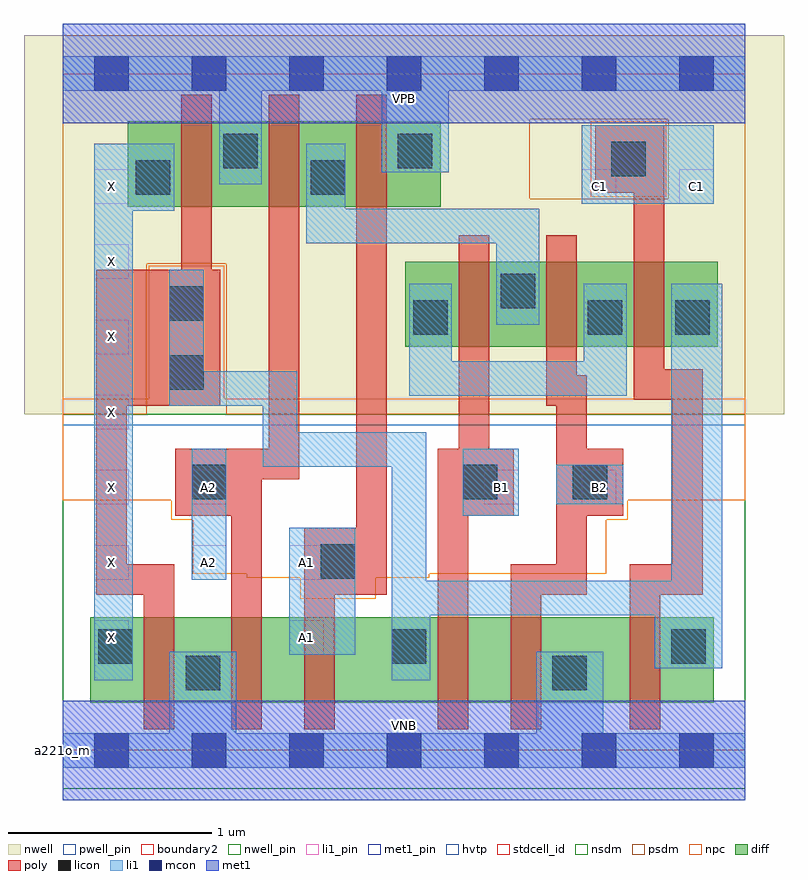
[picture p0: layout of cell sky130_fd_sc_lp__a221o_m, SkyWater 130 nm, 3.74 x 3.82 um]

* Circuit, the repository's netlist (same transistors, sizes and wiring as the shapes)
* Copyright 2020 The SkyWater PDK Authors
*
* Licensed under the Apache License, Version 2.0 (the "License");
* you may not use this file except in compliance with the License.
* You may obtain a copy of the License at
*
*     https://www.apache.org/licenses/LICENSE-2.0
*
* Unless required by applicable law or agreed to in writing, software
* distributed under the License is distributed on an "AS IS" BASIS,
* WITHOUT WARRANTIES OR CONDITIONS OF ANY KIND, either express or implied.
* See the License for the specific language governing permissions and
* limitations under the License.
*
* SPDX-License-Identifier: Apache-2.0

.SUBCKT sky130_fd_sc_lp__a221o_m A1 A2 B1 B2 C1 VGND VNB VPB VPWR X
*.PININFO A1:I A2:I B1:I B2:I C1:I VGND:I VNB:I VPB:I VPWR:I X:O
MMPA0 pndA A1 VPWR VPB sky130_fd_pr__pfet_01v8_hvt m=1 w=0.42U l=0.15U mult=1 sa=0.265
+ sb=0.265 sd=0.28 area=0.063 perim=1.14
MMPA1 pndA A2 VPWR VPB sky130_fd_pr__pfet_01v8_hvt m=1 w=0.42U l=0.15U mult=1 sa=0.265
+ sb=0.265 sd=0.28 area=0.063 perim=1.14
MMPB0 pndB B1 pndA VPB sky130_fd_pr__pfet_01v8_hvt m=1 w=0.42U l=0.15U mult=1 sa=0.265
+ sb=0.265 sd=0.28 area=0.063 perim=1.14
MMPB1 pndB B2 pndA VPB sky130_fd_pr__pfet_01v8_hvt m=1 w=0.42U l=0.15U mult=1 sa=0.265
+ sb=0.265 sd=0.28 area=0.063 perim=1.14
MMPC0 y C1 pndB VPB sky130_fd_pr__pfet_01v8_hvt m=1 w=0.42U l=0.15U mult=1 sa=0.265
+ sb=0.265 sd=0.28 area=0.063 perim=1.14
MMIPX X y VPWR VPB sky130_fd_pr__pfet_01v8_hvt m=1 w=0.42U l=0.15U mult=1 sa=0.265
+ sb=0.265 sd=0.28 area=0.063 perim=1.14
MMNA0 y A1 sndA1 VNB sky130_fd_pr__nfet_01v8 m=1 w=0.42U l=0.15U mult=1 sa=0.265
+ sb=0.265 sd=0.28 area=0.063 perim=1.14
MMNA1 sndA1 A2 VGND VNB sky130_fd_pr__nfet_01v8 m=1 w=0.42U l=0.15U mult=1 sa=0.265
+ sb=0.265 sd=0.28 area=0.063 perim=1.14
MMNB0 y B1 sndB1 VNB sky130_fd_pr__nfet_01v8 m=1 w=0.42U l=0.15U mult=1 sa=0.265
+ sb=0.265 sd=0.28 area=0.063 perim=1.14
MMNB1 sndB1 B2 VGND VNB sky130_fd_pr__nfet_01v8 m=1 w=0.42U l=0.15U mult=1 sa=0.265
+ sb=0.265 sd=0.28 area=0.063 perim=1.14
MMNC0 y C1 VGND VNB sky130_fd_pr__nfet_01v8 m=1 w=0.42U l=0.15U mult=1 sa=0.265
+ sb=0.265 sd=0.28 area=0.063 perim=1.14
MMINX X y VGND VNB sky130_fd_pr__nfet_01v8 m=1 w=0.42U l=0.15U mult=1 sa=0.265
+ sb=0.265 sd=0.28 area=0.063 perim=1.14
.ENDS sky130_fd_sc_lp__a221o_m

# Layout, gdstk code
import gdstk
lib = gdstk.Library(unit=1e-6, precision=1e-09)
def R(c, l, rs):  # rectangles x0, y0, x1, y1
    for r in rs: c.add(gdstk.rectangle(r[:2], r[2:], *l))
def A(c, l, x, y, w, h, nx, ny, dx, dy):  # array of equal rectangles
    R(c, l, [(x+i*dx, y+j*dy, x+i*dx+w, y+j*dy+h) for i in range(nx) for j in range(ny)])
def P(c, l, *ps):  # polygons
    for p in ps: c.add(gdstk.Polygon(p, *l))
nwell_pin = (64, 16)
nwell = (64, 20)
diff = (65, 20)
poly = (66, 20)
licon = (66, 44)
li1_pin = (67, 16)
li1 = (67, 20)
mcon = (67, 44)
met1_pin = (68, 16)
met1 = (68, 20)
hvtp = (78, 44)
stdcell_id = (81, 4)
nsdm = (93, 44)
psdm = (94, 20)
npc = (95, 20)
pwell_pin = (122, 16)
boundary2 = (236, 0)

sky130_fd_sc_lp__a221o_m = lib.new_cell('sky130_fd_sc_lp__a221o_m')
R(sky130_fd_sc_lp__a221o_m, nwell_pin, [(0,3.085,3.36,3.33)])
R(sky130_fd_sc_lp__a221o_m, nwell, [(-0.19,1.655,3.55,3.52)])
R(sky130_fd_sc_lp__a221o_m, diff, [(0.135,0.235,3.205,0.655), (1.685,1.985,3.225,2.405), (0.32,2.675,1.86,3.095)])
P(sky130_fd_sc_lp__a221o_m, poly, [(0.775,2.365),(0.735,2.365),(0.735,3.225),(0.585,3.225),(0.585,2.365),(0.165,2.365),(0.165,0.765),(0.4,0.765),(0.4,0.105),(0.55,0.105),(0.55,0.915),(0.315,0.915),(0.315,1.695),(0.775,1.695)],
  [(1.165,3.225),(1.015,3.225),(1.015,1.485),(0.555,1.485),(0.555,1.155),(0.83,1.155),(0.83,0.105),(0.98,0.105),(0.98,1.335),(1.165,1.335)],
  [(1.595,3.225),(1.445,3.225),(1.445,1.095),(1.19,1.095),(1.19,0.105),(1.34,0.105),(1.34,0.765),(1.595,0.765)],
  [(2.22,1.485),(2.1,1.485),(2.1,2.535),(1.95,2.535),(1.95,1.485),(1.845,1.485),(1.845,0.105),(1.995,0.105),(1.995,1.155),(2.22,1.155)],
  [(2.76,1.485),(2.58,1.485),(2.58,1.845),(2.53,1.845),(2.53,2.535),(2.38,2.535),(2.38,1.695),(2.43,1.695),(2.43,0.915),(2.205,0.915),(2.205,0.105),(2.355,0.105),(2.355,0.765),(2.58,0.765),(2.58,1.155),(2.76,1.155)],
  [(3.15,1.875),(2.96,1.875),(2.96,3.075),(2.62,3.075),(2.62,2.745),(2.81,2.745),(2.81,1.725),(3,1.725),(3,0.915),(2.79,0.915),(2.79,0.105),(2.94,0.105),(2.94,0.765),(3.15,0.765)])
R(sky130_fd_sc_lp__a221o_m, licon, [(0.605,0.295,0.775,0.465), (2.41,0.295,2.58,0.465), (0.175,0.425,0.345,0.595), (1.62,0.425,1.79,0.595), (2.995,0.425,3.165,0.595), (1.27,0.845,1.44,1.015), (0.635,1.235,0.805,1.405), (1.97,1.235,2.14,1.405), (2.51,1.235,2.68,1.405), (0.525,1.775,0.695,1.945), (1.725,2.045,1.895,2.215), (2.585,2.045,2.755,2.215), (3.015,2.045,3.185,2.215), (0.525,2.115,0.695,2.285), (2.155,2.175,2.325,2.345), (0.36,2.735,0.53,2.905), (1.22,2.735,1.39,2.905), (2.7,2.825,2.87,2.995), (0.79,2.865,0.96,3.035), (1.65,2.865,1.82,3.035)])
A(sky130_fd_sc_lp__a221o_m, li1_pin, 0.155, 0.84, 0.17, 0.17, 3, 1, 0.48, 0)
A(sky130_fd_sc_lp__a221o_m, li1_pin, 0.155, 1.21, 0.17, 0.17, 1, 5, 0, 0.37)
R(sky130_fd_sc_lp__a221o_m, li1_pin, [(0.155,0.47,0.325,0.64), (1.115,0.47,1.285,0.64), (0.635,1.21,0.805,1.38), (2.075,1.21,2.245,1.38), (2.555,1.21,2.725,1.38), (2.555,2.69,2.725,2.86), (3.035,2.69,3.205,2.86)])
R(sky130_fd_sc_lp__a221o_m, li1, [(1.115,0.47,1.44,1.095), (0.635,0.84,0.805,1.485), (1.97,1.155,2.245,1.485), (2.43,1.21,2.76,1.405), (2.555,2.69,3.205,3.075)])
P(sky130_fd_sc_lp__a221o_m, li1, [(1.57,2.845),(1.57,3.245),(0.98,3.245),(0.98,2.785),(0.77,2.785),(0.77,3.245),(0,3.245),(0,3.415),(3.36,3.415),(3.36,3.245),(1.9,3.245),(1.9,2.845)],
  [(0.525,0.085),(0.525,0.485),(0.855,0.485),(0.855,0.085),(2.33,0.085),(2.33,0.485),(2.66,0.485),(2.66,0.085),(3.36,0.085),(3.36,-0.085),(0,-0.085),(0,0.085)],
  [(2.995,0.835),(2.995,2.295),(3.245,2.295),(3.245,0.405),(2.915,0.405),(2.915,0.665),(1.81,0.665),(1.81,0.345),(1.62,0.345),(1.62,1.395),(0.985,1.395),(0.985,1.695),(0.525,1.695),(0.525,2.365),(0.695,2.365),(0.695,1.865),(1.155,1.865),(1.155,1.565),(1.79,1.565),(1.79,0.835)],
  [(2.135,2.495),(1.2,2.495),(1.2,2.985),(1.39,2.985),(1.39,2.665),(2.345,2.665),(2.345,2.095),(2.135,2.095)],
  [(1.915,1.915),(2.565,1.915),(2.565,2.295),(2.775,2.295),(2.775,1.745),(1.705,1.745),(1.705,2.295),(1.915,2.295)],
  [(0.155,0.345),(0.155,2.985),(0.55,2.985),(0.55,2.655),(0.345,2.655),(0.345,0.345)])
A(sky130_fd_sc_lp__a221o_m, mcon, 0.155, -0.085, 0.17, 0.17, 7, 2, 0.48, 3.33)
R(sky130_fd_sc_lp__a221o_m, met1_pin, [(0,0,3.36,0.245), (0,3.085,3.36,3.33)])
R(sky130_fd_sc_lp__a221o_m, met1, [(0,-0.245,3.36,0.245), (0,3.085,3.36,3.575)])
R(sky130_fd_sc_lp__a221o_m, hvtp, [(0,1.6,3.36,3.33)])
R(sky130_fd_sc_lp__a221o_m, stdcell_id, [(0,0,3.36,3.33)])
R(sky130_fd_sc_lp__a221o_m, nsdm, [(0,-0.19,3.36,1.655)])
P(sky130_fd_sc_lp__a221o_m, psdm, [(3.36,2.715),(2.3,2.715),(2.3,3.105),(2.98,3.105),(2.98,2.715),(3.36,2.715),(3.36,3.52),(0,3.52),(0,1.655),(0.415,1.655),(0.415,2.395),(0.805,2.395),(0.805,1.655),(3.36,1.655)])
R(sky130_fd_sc_lp__a221o_m, npc, [(2.6,2.725,2.97,3.095)])
P(sky130_fd_sc_lp__a221o_m, npc, [(3.36,1.73),(0.795,1.73),(0.795,2.385),(0.425,2.385),(0.425,1.73),(0,1.73),(0,1.23),(0.535,1.23),(0.535,1.135),(0.64,1.135),(0.64,0.87),(0.905,0.87),(0.905,0.85),(1.17,0.85),(1.17,0.745),(1.54,0.745),(1.54,0.85),(1.805,0.85),(1.805,0.87),(2.675,0.87),(2.675,1.135),(2.78,1.135),(2.78,1.23),(3.36,1.23)])
R(sky130_fd_sc_lp__a221o_m, pwell_pin, [(0,0,3.36,0.245)])
R(sky130_fd_sc_lp__a221o_m, boundary2, [(0,0,3.36,3.33)])
sky130_fd_sc_lp__a221o_m.add(gdstk.Label('VNB', (1.68,0.123), layer=64, texttype=59))
sky130_fd_sc_lp__a221o_m.add(gdstk.Label('VPB', (1.68,3.208), layer=64, texttype=5))
sky130_fd_sc_lp__a221o_m.add(gdstk.Label('a221o_m', (0,0), layer=83, texttype=44))
sky130_fd_sc_lp__a221o_m.add(gdstk.Label('VPWR', (1.68,3.208), layer=68, texttype=5))
sky130_fd_sc_lp__a221o_m.add(gdstk.Label('VGND', (1.68,0.123), layer=68, texttype=5))
sky130_fd_sc_lp__a221o_m.add(gdstk.Label('A1', (1.2,0.555), layer=67, texttype=5))
sky130_fd_sc_lp__a221o_m.add(gdstk.Label('A1', (1.2,0.925), layer=67, texttype=5))
sky130_fd_sc_lp__a221o_m.add(gdstk.Label('A2', (0.72,0.925), layer=67, texttype=5))
sky130_fd_sc_lp__a221o_m.add(gdstk.Label('A2', (0.72,1.295), layer=67, texttype=5))
sky130_fd_sc_lp__a221o_m.add(gdstk.Label('B1', (2.16,1.295), layer=67, texttype=5))
sky130_fd_sc_lp__a221o_m.add(gdstk.Label('B2', (2.64,1.295), layer=67, texttype=5))
sky130_fd_sc_lp__a221o_m.add(gdstk.Label('C1', (2.64,2.775), layer=67, texttype=5))
sky130_fd_sc_lp__a221o_m.add(gdstk.Label('C1', (3.12,2.775), layer=67, texttype=5))
sky130_fd_sc_lp__a221o_m.add(gdstk.Label('X', (0.24,0.555), layer=67, texttype=5))
sky130_fd_sc_lp__a221o_m.add(gdstk.Label('X', (0.24,0.925), layer=67, texttype=5))
sky130_fd_sc_lp__a221o_m.add(gdstk.Label('X', (0.24,1.295), layer=67, texttype=5))
sky130_fd_sc_lp__a221o_m.add(gdstk.Label('X', (0.24,1.665), layer=67, texttype=5))
sky130_fd_sc_lp__a221o_m.add(gdstk.Label('X', (0.24,2.035), layer=67, texttype=5))
sky130_fd_sc_lp__a221o_m.add(gdstk.Label('X', (0.24,2.405), layer=67, texttype=5))
sky130_fd_sc_lp__a221o_m.add(gdstk.Label('X', (0.24,2.775), layer=67, texttype=5))

lib.write_gds('sky130_fd_sc_lp__a221o_m.gds')
